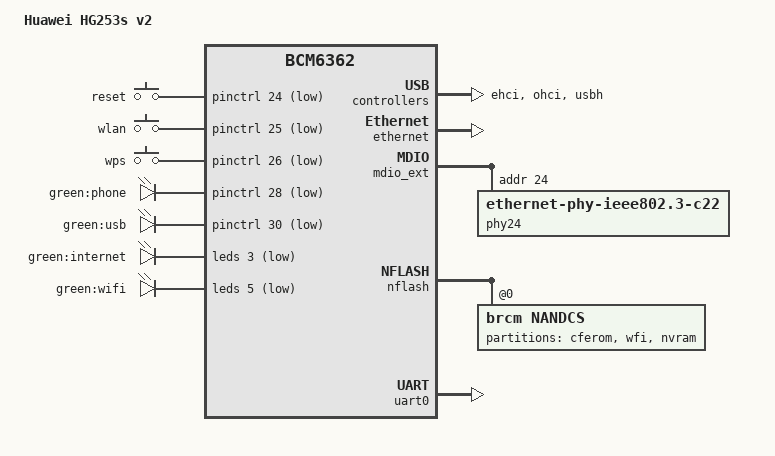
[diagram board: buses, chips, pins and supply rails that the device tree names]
// SPDX-License-Identifier: GPL-2.0-or-later

#include "bcm6362.dtsi"

/ {
	model = "Huawei HG253s v2";
	compatible = "huawei,hg253s-v2", "brcm,bcm6362";

	aliases {
		led-boot = &led_phone_green;
		led-failsafe = &led_phone_green;
		led-upgrade = &led_phone_green;
	};

	keys {
		compatible = "gpio-keys-polled";
		poll-interval = <20>;

		reset {
			label = "reset";
			gpios = <&pinctrl 24 GPIO_ACTIVE_LOW>;
			linux,code = <KEY_RESTART>;
			debounce-interval = <60>;
		};

		wlan {
			label = "wlan";
			gpios = <&pinctrl 25 GPIO_ACTIVE_LOW>;
			linux,code = <KEY_WLAN>;
			debounce-interval = <60>;
		};

		wps {
			label = "wps";
			gpios = <&pinctrl 26 GPIO_ACTIVE_LOW>;
			linux,code = <KEY_WPS_BUTTON>;
			debounce-interval = <60>;
		};
	};

	leds {
		compatible = "gpio-leds";

		led_phone_green: led@28 {
			label = "green:phone";
			gpios = <&pinctrl 28 GPIO_ACTIVE_LOW>;
		};

		led@34 {
			label = "green:usb";
			gpios = <&pinctrl 30 GPIO_ACTIVE_LOW>;
		};
	};
};

&ehci {
	status = "okay";
};

&ethernet {
	status = "okay";

	mtd-mac-address = <&cferom 0x6a0>;
};

&leds {
	status = "okay";

	pinctrl-names = "default";
	pinctrl-0 = <&pinctrl_leds>;

	led@3 {
		reg = <3>;
		active-low;
		label = "green:internet";
	};

	led@5 {
		reg = <5>;
		active-low;
		label = "green:wifi";
	};
};

&mdio_ext {
	phy24: ethernet-phy@18 {
		compatible = "ethernet-phy-ieee802.3-c22";
		reg = <24>;
	};
};

&nflash {
	status = "okay";

	nandcs@0 {
		compatible = "brcm,nandcs";
		reg = <0>;
		nand-ecc-step-size = <512>;
		nand-ecc-strength = <15>;
		nand-on-flash-bbt;
		brcm,nand-oob-sector-size = <64>;

		partitions {
			compatible = "fixed-partitions";
			#address-cells = <1>;
			#size-cells = <1>;

			cferom: partition@0 {
				label = "cferom";
				reg = <0x0000000 0x0020000>;
				read-only;
			};

			partition@20000 {
				compatible = "brcm,wfi";
				label = "wfi";
				reg = <0x0020000 0x7d80000>;
			};

			partition@7da0000 {
				label = "nvram";
				reg = <0x7da0000 0x160000>;
			};
		};
	};
};

&ohci {
	status = "okay";
};

&pinctrl {
	pinctrl_leds: leds {
		function = "led";
		pins = "gpio3", "gpio5";
	};
};

&switch0 {
	ports {
		port@4 {
			reg = <4>;
			label = "extsw";

			phy-mode = "rgmii";

			fixed-link {
				speed = <1000>;
				full-duplex;
			};
		};

		port@5 {
			reg = <5>;
			label = "wan";

			phy-handle = <&phy24>;
			phy-mode = "rgmii-id";
		};
	};
};

&uart0 {
	status = "okay";
};

&usbh {
	status = "okay";
};
